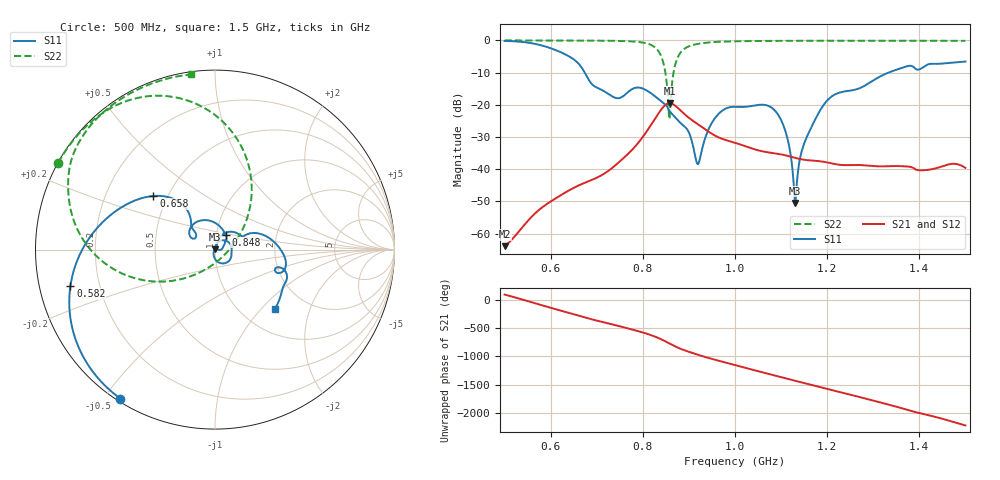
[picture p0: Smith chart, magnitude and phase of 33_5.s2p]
! TOUCHSTONE file generated by CST MICROWAVE STUDIO
! Date and time: Mon Oct 26 12:29:42 2020
! Project name: Scenario_1_Circular_Tissue_out_of_Line.cst
! Parameters = {dy1=208.912; L_HA=400; MT=2.54; Rad_Dielectric=30; Rad_Lower=7.3; Rad_Upper=30; a_HA=580; a_WG=246; b_HA=500; b_WG=121; c_HA=0; c_WG=187; d_feed=85; dx1=866; h_feed=15; h_lower=18; h_upper=40}
! Header version: 2018
! Port assignment regex: !\s*Touchstone port\s*([0-9]+)\s*=\s*(CST MWS port|CST DS port)\s*([0-9]+|Zmin|Zmax)\s*\(\"(.*)\"\)(\s*mode\s*([0-9]+))?.*
! Touchstone port assignment:
! Touchstone port 1 = CST MWS port 1 ("")
! Touchstone port 2 = CST MWS port 2 ("")
# GHz S DB R 50
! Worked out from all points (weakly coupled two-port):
!   1001 points, 500 MHz to 1.5 GHz, reference 50 ohm
!   highest |S21| = -19.50 dB at 858 MHz (marker M1); lowest = -63.9 dB at 500 MHz (marker M2)
!   lowest |S11| = -50.5 dB at 1.131 GHz (marker M3), VSWR 1.01, Z = 49.8 + j0.168 ohm
!   |S11| at or under -10 dB: 673.9 MHz to 1.333 GHz (659 MHz wide, 65.7 % of centre)
!   |S22| runs from -24.4 to 0.0 dB; largest |S21 - S12| = 2.4e-05
!   S11 on the Smith chart (normalised r, x): 500 MHz: 0.01, -0.55; 582 MHz: 0.09, -0.12; 658 MHz: 0.42, +0.32; 848 MHz: 1.11, +0.19; 1.5 GHz: 1.40, -1.20
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0.5  -0.15 -122.5  -63.87 92.2  -63.87 92.2  -0.01 151.1
0.582  -1.61 -165.9  -51.78 -99.9  -51.78 -99.9  -0.02 145.5
0.658  -6.85 138.9  -45.19 83.8  -45.19 83.8  -0.04 139.2
0.667  -8.38 130.7  -44.61 63.0  -44.61 63.0  -0.04 138.3
0.738  -17.70 143.3  -39.05 -83.7  -39.05 -83.7  -0.13 129.6
0.779  -14.94 141.9  -33.60 -170.5  -33.60 -170.5  -0.33 120.6
0.834  -18.20 71.8  -22.64 43.3  -22.64 43.3  -3.37 83.2
0.848  -19.82 54.6  -20.16 -11.2  -20.16 -11.2  -9.25 54.2
0.858  -21.90 40.9  -19.50 -54.6  -19.50 -54.6  -24.39 -64.5
0.877  -24.95 26.5  -21.10 -130.0  -21.10 -130.0  -4.90 -168.5
0.899  -28.31 4.3  -23.92 162.8  -23.92 162.8  -1.88 168.1
0.919  -38.41 32.3  -25.98 109.4  -25.98 109.4  -1.09 158.0
0.954  -24.63 57.7  -29.33 25.7  -29.33 25.7  -0.51 148.0
1  -20.60 4.6  -31.78 -74.1  -31.78 -74.1  -0.27 140.1
1.091  -22.52 -73.5  -35.13 92.8  -35.13 92.8  -0.13 130.5
1.114  -30.54 -104.7  -35.83 42.9  -35.83 42.9  -0.12 128.5
1.131  -50.47 145.6  -36.49 7.4  -36.49 7.4  -0.11 127.0
1.145  -34.28 72.5  -36.93 -20.8  -36.93 -20.8  -0.10 125.9
1.167  -26.57 71.2  -37.29 -65.3  -37.29 -65.3  -0.10 124.1
1.211  -17.28 46.6  -38.21 -158.2  -38.21 -158.2  -0.09 120.7
1.334  -9.94 10.1  -39.04 -54.0  -39.04 -54.0  -0.09 111.4
1.5  -6.55 -45.1  -39.57 -61.0  -39.56 -61.1  -0.13 97.8
